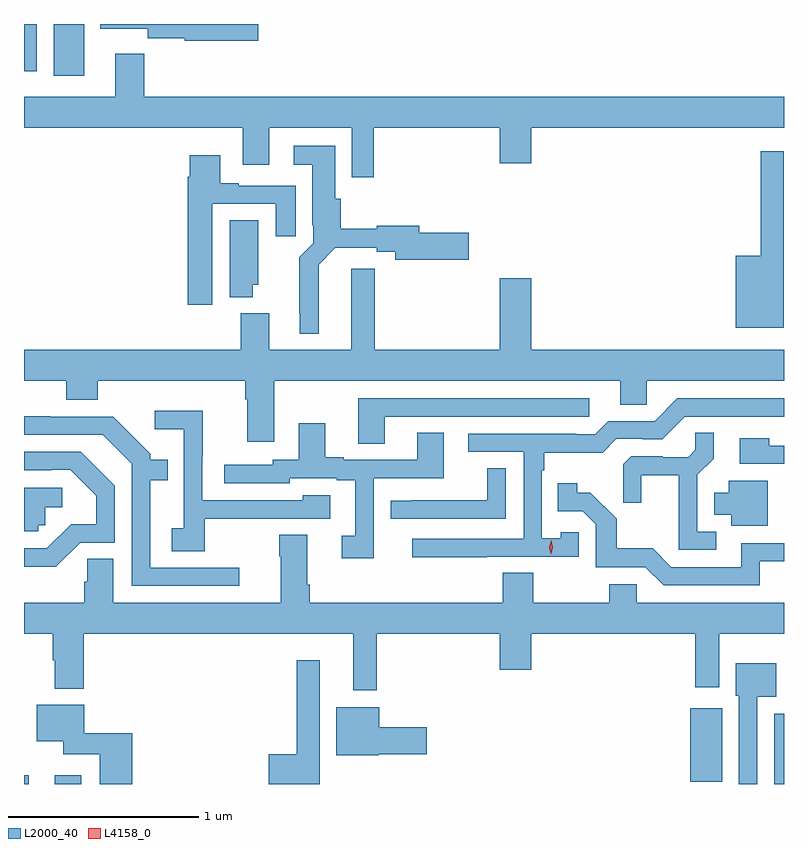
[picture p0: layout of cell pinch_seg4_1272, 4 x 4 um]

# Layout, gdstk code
import gdstk
lib = gdstk.Library(unit=1e-6, precision=1e-09)
def R(c, l, rs):  # rectangles x0, y0, x1, y1
    for r in rs: c.add(gdstk.rectangle(r[:2], r[2:], *l))
def P(c, l, *ps):  # polygons
    for p in ps: c.add(gdstk.Polygon(p, *l))
L2000_40 = (2000, 40)
L4158_0 = (4158, 0)

pinch_seg4_1272 = lib.new_cell('pinch_seg4_1272')
R(pinch_seg4_1272, L2000_40, [(354.311,778.714,354.337,778.759), (354.473,778.714,354.613,778.759), (358.259,778.714,358.311,779.083), (357.818,778.727,357.985,779.113), (354.467,782.442,354.628,782.714), (354.311,782.465,354.378,782.714)])
P(pinch_seg4_1272, L2000_40, [(355.543,782.714),(354.713,782.714),(354.713,782.69),(354.962,782.69),(354.962,782.638),(355.158,782.638),(355.158,782.626),(355.543,782.626)],
  [(356.153,782.168),(356.816,782.168),(356.816,781.98),(356.98,781.98),(356.98,782.168),(358.311,782.168),(358.311,782.332),(354.944,782.332),(354.944,782.557),(354.791,782.557),(354.791,782.332),(354.311,782.332),(354.311,782.168),(355.463,782.168),(355.463,781.974),(355.603,781.974),(355.603,782.168),(356.037,782.168),(356.037,781.908),(356.153,781.908)],
  [(355.861,781.448),(355.948,781.536),(356.168,781.536),(356.168,781.516),(356.264,781.516),(356.264,781.474),(356.653,781.474),(356.653,781.616),(356.392,781.616),(356.392,781.652),(356.168,781.652),(356.168,781.637),(355.979,781.637),(355.979,781.794),(355.948,781.794),(355.948,782.074),(355.731,782.074),(355.731,781.973),(355.829,781.973),(355.829,781.654),(355.833,781.654),(355.833,781.56),(355.759,781.486),(355.759,781.195),(355.763,781.195),(355.763,781.085),(355.861,781.085)],
  [(358.309,782.044),(358.188,782.044),(358.188,781.495),(358.058,781.495),(358.058,781.115),(358.309,781.115)],
  [(355.303,781.767),(355.637,781.767),(355.637,781.596),(355.741,781.596),(355.741,781.863),(355.441,781.863),(355.441,781.876),(355.345,781.876),(355.345,782.023),(355.184,782.023),(355.184,781.91),(355.172,781.91),(355.172,781.236),(355.303,781.236)],
  [(355.516,781.341),(355.543,781.341),(355.543,781.682),(355.394,781.682),(355.394,781.277),(355.516,781.277)],
  [(355.627,780.836),(357.449,780.836),(357.449,780.709),(357.588,780.709),(357.588,780.836),(358.311,780.836),(358.311,781),(356.98,781),(356.98,781.375),(356.816,781.375),(356.816,781),(356.156,781),(356.156,781.426),(356.033,781.426),(356.033,781),(355.603,781),(355.603,781.192),(355.451,781.192),(355.451,781),(354.311,781),(354.311,780.836),(354.533,780.836),(354.533,780.737),(354.698,780.737),(354.698,780.836),(355.475,780.836),(355.475,780.74),(355.487,780.74),(355.487,780.516),(355.627,780.516)],
  [(356.747,779.91),(357.231,779.91),(357.231,780.039),(357.135,780.039),(357.135,780.007),(357.036,780.007),(357.036,780.365),(357.049,780.365),(357.049,780.458),(357.356,780.458),(357.429,780.531),(357.568,780.531),(357.568,780.528),(357.669,780.528),(357.789,780.648),(358.311,780.648),(358.311,780.744),(357.75,780.744),(357.63,780.624),(357.387,780.624),(357.318,780.555),(357.218,780.555),(357.218,780.558),(356.649,780.558),(356.649,780.462),(356.94,780.462),(356.94,780.006),(356.355,780.006),(356.355,779.908),(356.747,779.908)],
  [(356.209,780.648),(357.286,780.648),(357.286,780.744),(356.069,780.744),(356.069,780.505),(356.209,780.505)],
  [(355.261,780.109),(355.565,780.109),(355.565,780.111),(355.924,780.111),(355.924,780.235),(355.779,780.235),(355.779,780.207),(355.248,780.207),(355.248,780.44),(355.251,780.44),(355.251,780.679),(354.999,780.679),(354.999,780.581),(355.152,780.581),(355.152,780.06),(355.089,780.06),(355.089,779.938),(355.261,779.938)],
  [(355.444,779.853),(354.976,779.853),(354.976,780.312),(355.067,780.312),(355.067,780.421),(354.975,780.421),(354.975,780.453),(354.78,780.648),(354.449,780.648),(354.449,780.65),(354.311,780.65),(354.311,780.552),(354.726,780.552),(354.879,780.399),(354.879,779.757),(355.444,779.757)],
  [(356.151,780.324),(356.521,780.324),(356.521,780.563),(356.381,780.563),(356.381,780.42),(355.993,780.42),(355.993,780.433),(355.897,780.433),(355.897,780.613),(355.757,780.613),(355.757,780.42),(355.62,780.42),(355.62,780.393),(355.365,780.393),(355.365,780.297),(355.71,780.297),(355.71,780.324),(355.958,780.324),(355.958,780.312),(356.054,780.312),(356.054,780.021),(355.983,780.021),(355.983,779.901),(356.151,779.901)],
  [(357.955,780.042),(357.855,780.042),(357.855,780.341),(357.941,780.427),(357.941,780.563),(357.843,780.563),(357.843,780.472),(357.806,780.435),(357.672,780.435),(357.672,780.438),(357.507,780.438),(357.466,780.397),(357.466,780.195),(357.56,780.195),(357.56,780.338),(357.758,780.338),(357.758,779.946),(357.955,779.946)],
  [(358.311,780.495),(358.233,780.495),(358.233,780.535),(358.077,780.535),(358.077,780.399),(358.311,780.399)],
  [(354.606,779.985),(354.789,779.985),(354.789,780.283),(354.61,780.462),(354.311,780.462),(354.311,780.366),(354.455,780.366),(354.455,780.369),(354.555,780.369),(354.692,780.232),(354.692,780.082),(354.559,780.082),(354.432,779.955),(354.311,779.955),(354.311,779.858),(354.478,779.858)],
  [(356.847,780.377),(356.749,780.377),(356.749,780.207),(356.353,780.207),(356.353,780.206),(356.241,780.206),(356.241,780.111),(356.847,780.111)],
  [(358.225,780.31),(358.019,780.31),(358.019,780.247),(357.944,780.247),(357.944,780.131),(358.034,780.131),(358.034,780.074),(358.225,780.074)],
  [(358.184,779.886),(358.311,779.886),(358.311,779.982),(358.085,779.982),(358.085,779.856),(357.717,779.856),(357.619,779.955),(357.43,779.955),(357.43,780.11),(357.292,780.248),(357.222,780.248),(357.222,780.298),(357.121,780.298),(357.121,780.15),(357.252,780.15),(357.321,780.081),(357.321,779.856),(357.582,779.856),(357.678,779.76),(358.184,779.76)],
  [(354.387,780.075),(354.423,780.075),(354.423,780.17),(354.511,780.17),(354.511,780.273),(354.311,780.273),(354.311,780.045),(354.387,780.045)],
  [(354.311,779.504),(354.461,779.504),(354.461,779.366),(354.473,779.366),(354.473,779.216),(354.626,779.216),(354.626,779.504),(356.045,779.504),(356.045,779.208),(356.167,779.208),(356.167,779.504),(356.816,779.504),(356.816,779.316),(356.98,779.316),(356.98,779.504),(357.845,779.504),(357.845,779.223),(357.97,779.223),(357.97,779.504),(358.311,779.504),(358.311,779.668),(357.537,779.668),(357.537,779.766),(357.391,779.766),(357.391,779.668),(356.991,779.668),(356.991,779.825),(356.831,779.825),(356.831,779.668),(355.814,779.668),(355.814,779.764),(355.801,779.764),(355.801,780.025),(355.654,780.025),(355.654,779.912),(355.661,779.912),(355.661,779.668),(354.781,779.668),(354.781,779.9),(354.643,779.9),(354.643,779.778),(354.629,779.778),(354.629,779.668),(354.311,779.668)],
  [(355.867,779.365),(355.746,779.365),(355.746,778.87),(355.598,778.87),(355.598,778.714),(355.867,778.714)],
  [(358.17,779.174),(358.27,779.174),(358.27,779.35),(358.058,779.35),(358.058,779.178),(358.074,779.178),(358.074,778.714),(358.17,778.714)],
  [(354.881,778.981),(354.628,778.981),(354.628,779.131),(354.377,779.131),(354.377,778.94),(354.518,778.94),(354.518,778.871),(354.71,778.871),(354.71,778.714),(354.881,778.714)],
  [(356.178,778.871),(356.431,778.871),(356.431,779.013),(356.182,779.013),(356.182,779.119),(355.955,779.119),(355.955,778.865),(356.178,778.865)])
P(pinch_seg4_1272, L4158_0, [(357.085,779.925),(357.084,779.926),(357.075,779.961),(357.086,779.997),(357.086,779.997),(357.086,779.997),(357.095,779.961),(357.085,779.926)])

lib.write_gds('pinch_seg4_1272.gds')
